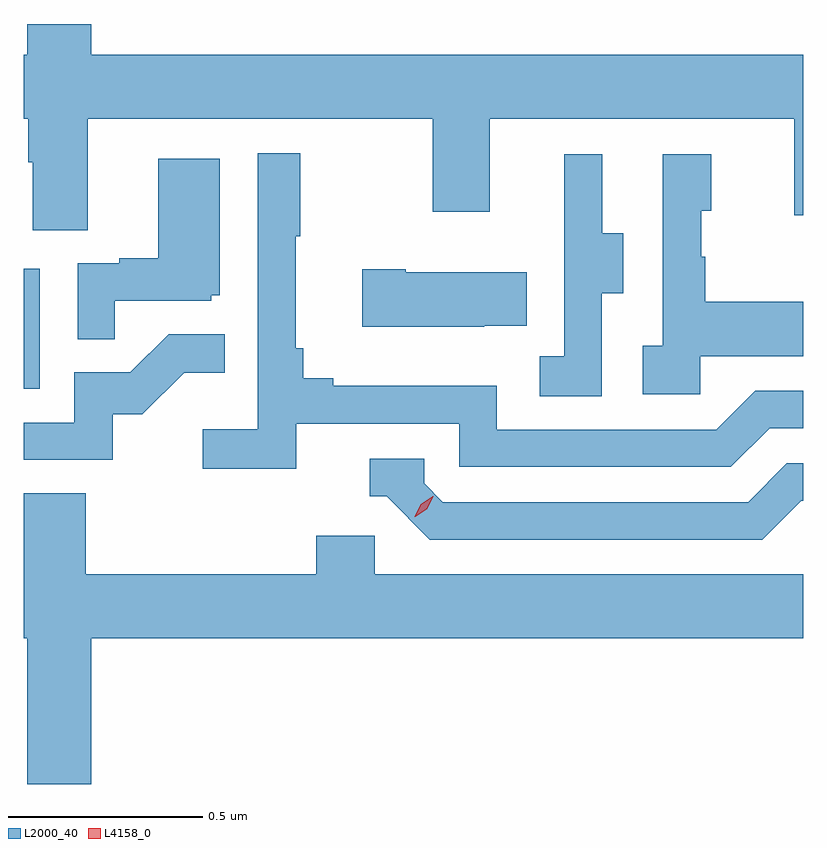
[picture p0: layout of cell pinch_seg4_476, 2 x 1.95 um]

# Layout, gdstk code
import gdstk
lib = gdstk.Library(unit=1e-6, precision=1e-09)
def R(c, l, rs):  # rectangles x0, y0, x1, y1
    for r in rs: c.add(gdstk.rectangle(r[:2], r[2:], *l))
def P(c, l, *ps):  # polygons
    for p in ps: c.add(gdstk.Polygon(p, *l))
L2000_40 = (2000, 40)
L4158_0 = (4158, 0)

pinch_seg4_476 = lib.new_cell('pinch_seg4_476')
R(pinch_seg4_476, L2000_40, [(944.219,765.492,944.26,765.799)])
P(pinch_seg4_476, L2000_40, [(944.228,766.348),(944.219,766.348),(944.219,766.184),(944.231,766.184),(944.231,766.072),(944.243,766.072),(944.243,765.898),(944.383,765.898),(944.383,766.184),(945.268,766.184),(945.268,765.945),(945.415,765.945),(945.415,766.184),(946.196,766.184),(946.196,765.936),(946.219,765.936),(946.219,766.348),(944.392,766.348),(944.392,766.427),(944.228,766.427)],
  [(944.918,765.402),(945.336,765.402),(945.336,765.291),(946.033,765.291),(946.132,765.39),(946.219,765.39),(946.219,765.486),(946.095,765.486),(945.996,765.387),(945.432,765.387),(945.432,765.499),(945.013,765.499),(945.013,765.518),(944.936,765.518),(944.936,765.595),(944.917,765.595),(944.917,765.883),(944.929,765.883),(944.929,766.096),(944.82,766.096),(944.82,765.388),(944.679,765.388),(944.679,765.286),(944.918,765.286)],
  [(945.702,765.736),(945.757,765.736),(945.757,765.891),(945.703,765.891),(945.703,766.093),(945.605,766.093),(945.605,765.879),(945.606,765.879),(945.606,765.575),(945.543,765.575),(945.543,765.472),(945.702,765.472)],
  [(945.954,765.575),(946.219,765.575),(946.219,765.715),(945.967,765.715),(945.967,765.83),(945.957,765.83),(945.957,765.948),(945.982,765.948),(945.982,766.093),(945.858,766.093),(945.858,765.602),(945.807,765.602),(945.807,765.477),(945.954,765.477)],
  [(944.453,765.717),(944.7,765.717),(944.7,765.732),(944.722,765.732),(944.722,766.081),(944.564,766.081),(944.564,765.826),(944.465,765.826),(944.465,765.813),(944.358,765.813),(944.358,765.619),(944.453,765.619)],
  [(945.401,765.653),(945.509,765.653),(945.509,765.79),(945.199,765.79),(945.199,765.798),(945.087,765.798),(945.087,765.65),(945.401,765.65)],
  [(944.448,765.426),(944.524,765.426),(944.631,765.533),(944.735,765.533),(944.735,765.632),(944.591,765.632),(944.493,765.534),(944.349,765.534),(944.349,765.405),(944.219,765.405),(944.219,765.309),(944.448,765.309)],
  [(946.213,765.204),(946.219,765.204),(946.219,765.3),(946.176,765.3),(946.077,765.201),(945.294,765.201),(945.246,765.249),(945.246,765.312),(945.107,765.312),(945.107,765.216),(945.15,765.216),(945.261,765.105),(946.114,765.105)],
  [(944.392,764.852),(946.219,764.852),(946.219,765.016),(945.12,765.016),(945.12,765.114),(944.969,765.114),(944.969,765.016),(944.378,765.016),(944.378,765.224),(944.219,765.224),(944.219,764.852),(944.228,764.852),(944.228,764.478),(944.392,764.478)])
P(pinch_seg4_476, L4158_0, [(945.222,765.163),(945.222,765.163),(945.238,765.196),(945.269,765.216),(945.27,765.216),(945.27,765.215),(945.253,765.183),(945.223,765.163)])

lib.write_gds('pinch_seg4_476.gds')
